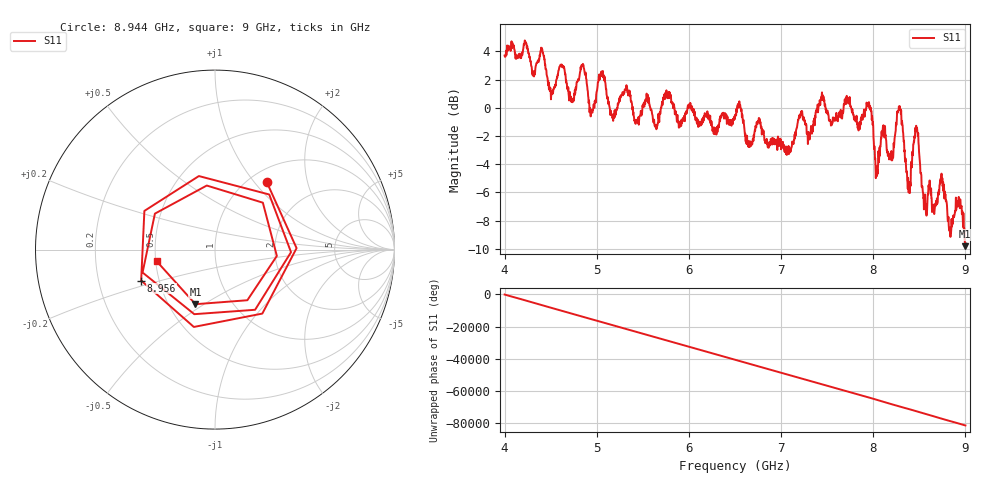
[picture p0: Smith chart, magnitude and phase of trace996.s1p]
! Created with skrf 1.8.0 (http://scikit-rf.org).
# Hz S RI R 50.0
!freq ReS11 ImS11
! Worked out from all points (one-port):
!   1601 points, 4 GHz to 9 GHz, reference 50 ohm
!   lowest |S11| = -9.8 dB at 8.997 GHz (marker M1), VSWR 1.95, Z = 33.9 - j23 ohm
!   |S11| at or under -10 dB: nowhere
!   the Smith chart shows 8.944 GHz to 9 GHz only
!   S11 on the Smith chart (normalised r, x): 8.944 GHz: 1.20, +1.16; 8.956 GHz: 0.40, -0.17; 9 GHz: 0.51, -0.07
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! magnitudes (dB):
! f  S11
! 4 GHz  3.7
! 4.406 GHz  4.1
! 4.506 GHz  0.9
! 4.625 GHz  3.0
! 4.725 GHz  0.7
! 4.844 GHz  3.1
! 4.938 GHz  -0.1
! 5.047 GHz  2.4
! 5.166 GHz  -0.6
! 5.25 GHz  0.5
! 5.875 GHz  -0.5
! 6.5 GHz  -0.5
! 7.125 GHz  -2.5
! 7.444 GHz  1.1
! 7.75 GHz  0.1
! 7.956 GHz  0.3
! 8.041 GHz  -4.8
! 8.109 GHz  -1.7
! 8.194 GHz  -3.3
! 8.284 GHz  -0.1
! 8.375 GHz  -5.7
! 8.466 GHz  -1.3
! 8.562 GHz  -6.1
! 8.744 GHz  -5.1
! 8.944 GHz  -6.5
! 8.956 GHz  -7.0
! 8.997 GHz  -9.8
! 9 GHz  -9.6
